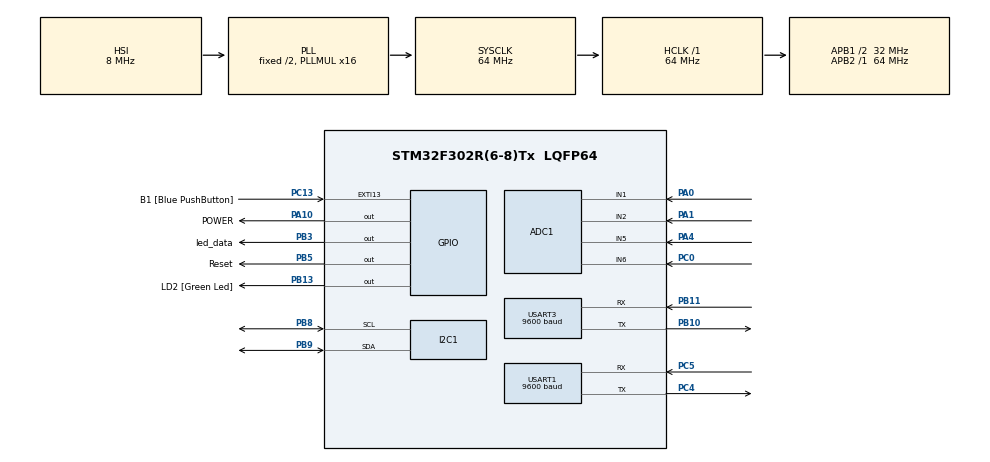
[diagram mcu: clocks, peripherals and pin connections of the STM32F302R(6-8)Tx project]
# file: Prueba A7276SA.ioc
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ADC1.Channel-0\#ChannelRegularConversion=ADC_CHANNEL_1
ADC1.Channel-1\#ChannelRegularConversion=ADC_CHANNEL_1
ADC1.Channel-2\#ChannelRegularConversion=ADC_CHANNEL_1
ADC1.ContinuousConvMode=ENABLE
ADC1.DMAContinuousRequests=ENABLE
ADC1.NbrOfConversion=3
ADC1.NbrOfConversionFlag=1
ADC1.Offset-0\#ChannelRegularConversion=0
ADC1.Offset-1\#ChannelRegularConversion=0
ADC1.Offset-2\#ChannelRegularConversion=0
ADC1.OffsetNumber-0\#ChannelRegularConversion=ADC_OFFSET_NONE
ADC1.OffsetNumber-1\#ChannelRegularConversion=ADC_OFFSET_NONE
ADC1.OffsetNumber-2\#ChannelRegularConversion=ADC_OFFSET_NONE
ADC1.Rank-0\#ChannelRegularConversion=1
ADC1.Rank-1\#ChannelRegularConversion=2
ADC1.Rank-2\#ChannelRegularConversion=3
ADC1.SamplingTime-0\#ChannelRegularConversion=ADC_SAMPLETIME_601CYCLES_5
ADC1.SamplingTime-1\#ChannelRegularConversion=ADC_SAMPLETIME_601CYCLES_5
ADC1.SamplingTime-2\#ChannelRegularConversion=ADC_SAMPLETIME_601CYCLES_5
ADC1.SamplingTimeOPAMP-1\#ChannelRegularConversion=ADC_SAMPLETIME_61CYCLES_5
ADC1.SamplingTimeOPAMP-2\#ChannelRegularConversion=ADC_SAMPLETIME_61CYCLES_5
ADC1.SequencerNbRanks=1
ADC1.SubFamily=STM32F302x8
ADC1.master=1
Dma.ADC1.0.Direction=DMA_PERIPH_TO_MEMORY
Dma.ADC1.0.Instance=DMA1_Channel1
Dma.ADC1.0.MemDataAlignment=DMA_MDATAALIGN_WORD
Dma.ADC1.0.MemInc=DMA_MINC_ENABLE
Dma.ADC1.0.Mode=DMA_CIRCULAR
Dma.ADC1.0.PeriphDataAlignment=DMA_PDATAALIGN_WORD
Dma.ADC1.0.PeriphInc=DMA_PINC_DISABLE
Dma.ADC1.0.Priority=DMA_PRIORITY_LOW
Dma.Request0=ADC1
Mcu.Family=STM32F3
Mcu.Name=STM32F302R(6-8)Tx
Mcu.Package=LQFP64
NVIC.DMA1_Channel1_IRQn=true\:0\:0\:false\:false\:true\:false\:true\:true
NVIC.PriorityGroup=NVIC_PRIORITYGROUP_0
NVIC.TIM1_TRG_COM_TIM17_IRQn=true\:0\:0\:false\:false\:true\:true\:true\:true
NVIC.USART3_IRQn=true\:0\:0\:false\:false\:true\:true\:true\:true
PA0.Mode=IN1-Single-Ended
PA0.Signal=ADC1_IN1
PA1.Mode=IN2-Single-Ended
PA1.Signal=ADC1_IN2
PA10.GPIO_Label=POWER
PA10.GPIO_Speed=GPIO_SPEED_FREQ_HIGH
PA10.Signal=GPIO_Output
PA13.GPIO_Label=TMS
PA13.Mode=Serial_Wire
PA13.Signal=SYS_JTMS-SWDIO
PA14.GPIO_Label=TCK
PA14.Mode=Serial_Wire
PA14.Signal=SYS_JTCK-SWCLK
PA2.GPIO_Label=USART_TX
PA2.GPIO_Mode=GPIO_MODE_AF_PP
PA2.GPIO_PuPd=GPIO_NOPULL
PA2.GPIO_Speed=GPIO_SPEED_FREQ_LOW
PA2.Signal=USART2_TX
PA3.GPIO_Label=USART_RX
PA3.GPIO_Mode=GPIO_MODE_AF_PP
PA3.GPIO_PuPd=GPIO_NOPULL
PA3.GPIO_Speed=GPIO_SPEED_FREQ_LOW
PA3.Signal=USART2_RX
PA4.Mode=IN5-Single-Ended
PA4.Signal=ADC1_IN5
PB10.Mode=Asynchronous
PB10.Signal=USART3_TX
PB11.Mode=Asynchronous
PB11.Signal=USART3_RX
PB13.GPIO_Label=LD2 [Green Led]
PB13.Signal=GPIO_Output
PB3.GPIO_Label=led_data
PB3.Signal=GPIO_Output
PB5.GPIO_Label=Reset
PB5.Signal=GPIO_Output
PB8.Mode=I2C
PB8.Signal=I2C1_SCL
PB9.Mode=I2C
PB9.Signal=I2C1_SDA
PC0.Signal=ADCx_IN6
PC13.GPIO_Label=B1 [Blue PushButton]
PC13.GPIO_ModeDefaultEXTI=GPIO_MODE_IT_FALLING
PC13.Signal=GPXTI13
PC14\ -\ OSC32_IN.Mode=LSE-External-Oscillator
PC14\ -\ OSC32_IN.Signal=RCC_OSC32_IN
PC15\ -\ OSC32_OUT.Mode=LSE-External-Oscillator
PC15\ -\ OSC32_OUT.Signal=RCC_OSC32_OUT
PC4.Mode=Asynchronous
PC4.Signal=USART1_TX
PC5.Mode=Asynchronous
PC5.Signal=USART1_RX
PF0-OSC_IN.Mode=HSE-External-Clock-Source
PF0-OSC_IN.Signal=RCC_OSC_IN
PF1-OSC_OUT.Signal=RCC_OSC_OUT
ProjectManager.HeapSize=0x200
ProjectManager.StackSize=0x400
ProjectManager.TargetToolchain=STM32CubeIDE
RCC.AHBFreq_Value=64000000
RCC.APB1CLKDivider=RCC_HCLK_DIV2
RCC.APB1Freq_Value=32000000
RCC.APB1TimFreq_Value=64000000
RCC.APB2Freq_Value=64000000
RCC.APB2TimFreq_Value=64000000
RCC.CortexFreq_Value=64000000
RCC.HCLKFreq_Value=64000000
RCC.HSE_VALUE=8000000
RCC.HSI_VALUE=8000000
RCC.PLLM=8
RCC.PLLMUL=RCC_PLL_MUL16
RCC.PLLN=336
RCC.PLLP=RCC_PLLP_DIV4
RCC.PLLQ=7
RCC.RCC_PLLsource_Clock_Source_FROM_HSE=RCC_HSE_PREDIV_DIV2
RCC.SYSCLKFreq_VALUE=64000000
RCC.SYSCLKSourceVirtual=RCC_SYSCLKSOURCE_PLLCLK
RCC.USBFreq_Value=64000000
SH.ADCx_IN6.0=ADC1_IN6,IN6-Single-Ended
TIM17.Period=10000
TIM17.Prescaler=6400
USART1.BaudRate=9600
USART1.VirtualMode-Asynchronous=VM_ASYNC
USART3.BaudRate=9600
USART3.VirtualMode-Asynchronous=VM_ASYNC
VP_TIM17_VS_ClockSourceINT.Mode=Enable_Timer
board=NUCLEO-F302R8

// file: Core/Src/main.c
/* USER CODE BEGIN Header */
/**
  ******************************************************************************
  * @file           : main.c
  * @brief          : Main program body
  ******************************************************************************
  * @attention
  *
  * Copyright (c) 2023 STMicroelectronics.
  * All rights reserved.
  *
  * This software is licensed under terms that can be found in the LICENSE file
  * in the root directory of this software component.
  * If no LICENSE file comes with this software, it is provided AS-IS.
  *
  ******************************************************************************
  */
/* USER CODE END Header */
#include "main.h"

/* USER CODE BEGIN Includes */
#include"UART.h" // aqui manejamos el uart por interrupcion para el envio de datos  y recepcion
#include "Comandos_AT.h" // aqui enviamos los comandos at por mqttt
#include "Interrupciones.h"// estas son interrupciones de timers para utilizar flags para el envio de los datos.
#include <stdio.h>
#include <string.h>
#include "BMP280.h" // esta es para manejar el i2c del bmp280
/* USER CODE END Includes */

ADC_HandleTypeDef hadc1;
DMA_HandleTypeDef hdma_adc1;

I2C_HandleTypeDef hi2c1;

TIM_HandleTypeDef htim17;

UART_HandleTypeDef huart1;
UART_HandleTypeDef huart3;

/* USER CODE BEGIN PV */
int flag=0;
bandera Flag;
uint32_t MEDIDAS[3]={0};
float pressure, temperature, humidity;
BMP280_HandleTypedef bmp280;
/* USER CODE END PV */

void SystemClock_Config(void);
static void MX_GPIO_Init(void);
static void MX_DMA_Init(void);
static void MX_USART1_UART_Init(void);
static void MX_USART3_UART_Init(void);
static void MX_TIM17_Init(void);
static void MX_ADC1_Init(void);
static void MX_I2C1_Init(void);

/* USER CODE BEGIN 0 */
int count=0;
char countStr[10];

uint32_t trubidity=0;
uint32_t Calculo_PH(uint32_t PH_value){return PH_value+300;}

/* USER CODE END 0 */

int main(void)
{

  /* MCU Configuration--------------------------------------------------------*/

  /* Reset of all peripherals, Initializes the Flash interface and the Systick. */
  HAL_Init();

  /* Configure the system clock */
  SystemClock_Config();

  /* Initialize all configured peripherals */
  MX_GPIO_Init();
  MX_DMA_Init();
  MX_USART1_UART_Init();
  MX_USART3_UART_Init();
  MX_TIM17_Init();
  MX_ADC1_Init();
  MX_I2C1_Init();
  /* USER CODE BEGIN 2 */
  HAL_ADC_Start_DMA(&hadc1,MEDIDAS,3);
  Uart_init();
  Timers_Init();
  Transmit("AT+CRESET\r\n");
  HAL_Delay(5000);
//  bmp280_init_default_params(&bmp280.params);
//  	bmp280.addr = BMP280_I2C_ADDRESS_0;
//  	bmp280.i2c = &hi2c1;
//
//  	while (!bmp280_init(&bmp280, &bmp280.params)) {
//  	}
//  	bool bme280p = bmp280.id == BME280_CHIP_ID;

  /* USER CODE END 2 */

  /* Infinite loop */
  /* USER CODE BEGIN WHILE */
  while (1)
  {
//
//	  bmp280_read_float(&bmp280, &temperature, &pressure, &humidity);

	  if(Flag.Reset_Tarjeta)
	  {
		  Flag.Reset_Tarjeta=0;
		  FUNC_RESET();
	  }

	  if(Flag.Radio_on)//Indicacion de que el radio debe inicializarse
	  	  {
	  		  if(!Flag.MQTT_Start&&!Flag.mqtt_command)//Esperar que el mqtt se encienda o se libere el uso del mqtt
	  		  {
	  			Transmit(Iniciar_MQTT);//Iniciar MQTT
	  			Flag.mqtt_command=1;//Ocupando el uso del MQTT
	  		  }
	  		 if(!Flag.gps&&!Flag.gps_command)//Esperar que el GPS se encienda o se libere el uso del GPS
	  		  {
	  		    Transmit(AT_GPS_ON);//Encender GPS
	  		    Flag.gps_command=1;//Ocupando el GPS
	  		  }
	  		  if(Flag.gps&&!Flag.gps_command)
	  		  {
	  			Transmit(AT_GPS_HOT);//Habilitando el uso del GPS
	  			Flag.gps_command=1;//Ocupando el GPS
	  		  }
	  		  if(Flag.MQTT_Start&&!Flag.mqtt_command&&!Flag.servidor)//Esperar a que ese activo el MQTT y este libre el uso del MQTT , para lograr conectarse al servidor
	  		  {
	  			FUNC_MQTT_CONNECT_SERVER("JORGE0901");//Conectarse al servidor MQTT
	  			Flag.mqtt_command=1;//Ocupando el MQTT
	  		  }
	  			if(Flag.MQTT_Start&&Flag.gps&&Flag.servidor)//Indicacion de que el equipo esta inicializado
	  		  {
	  			Flag.Radio_on=0;//Indicacion de que el equipo ya termino la inicializacion
	  			Flag.gps_command=0;//Liberando GPS
	  			Flag.mqtt_command=0;//Liberando MQTT
		  	  	if(Flag.servidor&&!Flag.Subscripcion)//Inicio de suscripciones
		  	  	{
		  			Flag.Subscripcion_sucess=0;//Incicando que puede enviar una subscripcion
		  			FUNC_Subscribirse_MQTT("EJEMPLOJORGE");//Topico al que se desea subscribirse
		  			while(!Flag.Subscripcion_sucess);//Esperando la respuesta

		  			Flag.Subscripcion=1;//Subscripciones terminadas

		  	  	}
	  			FUNC_SEND_MQTT("Ready","Prueba_Server");
	  		  }
	  	  }

	  	  	if(!Flag.Radio_on&&Flag.servidor)
	  	  	{
	  		  	if(Flag.Send_GPS&&!Flag.mqtt_command)
	  		  	{

	  		  		if(!Flag.gps_command)
	  		  		{
	  		  		HAL_Delay(100);
	  		  		Transmit(AT_GPS_INFO);
	  		  		Flag.gps_command=1;
	  		  		Flag.mqtt_command=1;
	  		  		while(!Flag.gps_command);
	  		  		HAL_Delay(200);
	  		  		FUNC_SEND_GPS();
	  		  		Flag.Send_GPS=0;
	  		  		}
	  		  	}

			  if(Flag.Send_Medidas&&!Flag.mqtt_command)
				 {
				  HAL_GPIO_TogglePin(led_data_GPIO_Port, led_data_Pin);
				  char Presion[10]="\0";
				  sprintf(Presion,"%.5f",pressure);
				  FUNC_SEND_MQTT(Presion,"waveSizejo");
				  Flag.Send_Medidas=0;
				 }
	  		  if(Flag.Send_Medidas2&&!Flag.mqtt_command)
	  		  	 {
	  			  HAL_GPIO_TogglePin(led_data_GPIO_Port, led_data_Pin);
	  		  	  char WIND[10]="\0";
	  		  	  sprintf(WIND,"%li",MEDIDAS[0]);
	  		  	  FUNC_SEND_MQTT(WIND,"windSpeedjo");
	  		  	  Flag.Send_Medidas2=0;
	  		  	 }
	  		if(Flag.Send_Medidas3&&!Flag.mqtt_command)
	  			  {
	  			HAL_GPIO_TogglePin(led_data_GPIO_Port, led_data_Pin);
  		  			char Turbidez[10]="\0";
  		  			sprintf(Turbidez,"%li",MEDIDAS[1]);
	  			  	FUNC_SEND_MQTT(Turbidez,"turbidityjo");
	  			  	Flag.Send_Medidas3=0;
	  			  }
	  		if(Flag.Send_Medidas4&&!Flag.mqtt_command)
	  			  {
	  			HAL_GPIO_TogglePin(led_data_GPIO_Port, led_data_Pin);
  		  			char Temp[10]="\0";
  		  			sprintf(Temp,"%li",MEDIDAS[2]);
	  			  	FUNC_SEND_MQTT(Temp,"temperaturejo");
	  			  	Flag.Send_Medidas4=0;
	  			   }
	  	  	}

    /* USER CODE END WHILE */

  }
}

void SystemClock_Config(void)
{
  RCC_OscInitTypeDef RCC_OscInitStruct = {0};
  RCC_ClkInitTypeDef RCC_ClkInitStruct = {0};
  RCC_PeriphCLKInitTypeDef PeriphClkInit = {0};

  /** Initializes the RCC Oscillators according to the specified parameters
  * in the RCC_OscInitTypeDef structure.
  */
  RCC_OscInitStruct.OscillatorType = RCC_OSCILLATORTYPE_HSI;
  RCC_OscInitStruct.HSIState = RCC_HSI_ON;
  RCC_OscInitStruct.HSICalibrationValue = RCC_HSICALIBRATION_DEFAULT;
  RCC_OscInitStruct.PLL.PLLState = RCC_PLL_ON;
  RCC_OscInitStruct.PLL.PLLSource = RCC_PLLSOURCE_HSI;
  RCC_OscInitStruct.PLL.PLLMUL = RCC_PLL_MUL16;
  if (HAL_RCC_OscConfig(&RCC_OscInitStruct) != HAL_OK)
  {
    Error_Handler();
  }

  /** Initializes the CPU, AHB and APB buses clocks
  */
  RCC_ClkInitStruct.ClockType = RCC_CLOCKTYPE_HCLK|RCC_CLOCKTYPE_SYSCLK
                              |RCC_CLOCKTYPE_PCLK1|RCC_CLOCKTYPE_PCLK2;
  RCC_ClkInitStruct.SYSCLKSource = RCC_SYSCLKSOURCE_PLLCLK;
  RCC_ClkInitStruct.AHBCLKDivider = RCC_SYSCLK_DIV1;
  RCC_ClkInitStruct.APB1CLKDivider = RCC_HCLK_DIV2;
  RCC_ClkInitStruct.APB2CLKDivider = RCC_HCLK_DIV1;

  if (HAL_RCC_ClockConfig(&RCC_ClkInitStruct, FLASH_LATENCY_2) != HAL_OK)
  {
    Error_Handler();
  }
  PeriphClkInit.PeriphClockSelection = RCC_PERIPHCLK_USART1|RCC_PERIPHCLK_I2C1
                              |RCC_PERIPHCLK_TIM17|RCC_PERIPHCLK_ADC1;
  PeriphClkInit.Usart1ClockSelection = RCC_USART1CLKSOURCE_PCLK1;
  PeriphClkInit.I2c1ClockSelection = RCC_I2C1CLKSOURCE_HSI;
  PeriphClkInit.Tim17ClockSelection = RCC_TIM17CLK_HCLK;
  PeriphClkInit.Adc1ClockSelection = RCC_ADC1PLLCLK_DIV1;

  if (HAL_RCCEx_PeriphCLKConfig(&PeriphClkInit) != HAL_OK)
  {
    Error_Handler();
  }
}

static void MX_ADC1_Init(void)
{

  ADC_ChannelConfTypeDef sConfig = {0};

  /** Common config
  */
  hadc1.Instance = ADC1;
  hadc1.Init.ClockPrescaler = ADC_CLOCK_ASYNC_DIV1;
  hadc1.Init.Resolution = ADC_RESOLUTION_12B;
  hadc1.Init.ScanConvMode = ADC_SCAN_ENABLE;
  hadc1.Init.ContinuousConvMode = ENABLE;
  hadc1.Init.DiscontinuousConvMode = DISABLE;
  hadc1.Init.ExternalTrigConvEdge = ADC_EXTERNALTRIGCONVEDGE_NONE;
  hadc1.Init.ExternalTrigConv = ADC_SOFTWARE_START;
  hadc1.Init.DataAlign = ADC_DATAALIGN_RIGHT;
  hadc1.Init.NbrOfConversion = 3;
  hadc1.Init.DMAContinuousRequests = ENABLE;
  hadc1.Init.EOCSelection = ADC_EOC_SINGLE_CONV;
  hadc1.Init.LowPowerAutoWait = DISABLE;
  hadc1.Init.Overrun = ADC_OVR_DATA_OVERWRITTEN;
  if (HAL_ADC_Init(&hadc1) != HAL_OK)
  {
    Error_Handler();
  }

  /** Configure Regular Channel
  */
  sConfig.Channel = ADC_CHANNEL_1;
  sConfig.Rank = ADC_REGULAR_RANK_1;
  sConfig.SingleDiff = ADC_SINGLE_ENDED;
  sConfig.SamplingTime = ADC_SAMPLETIME_601CYCLES_5;
  sConfig.OffsetNumber = ADC_OFFSET_NONE;
  sConfig.Offset = 0;
  if (HAL_ADC_ConfigChannel(&hadc1, &sConfig) != HAL_OK)
  {
    Error_Handler();
  }

  /** Configure Regular Channel
  */
  sConfig.Rank = ADC_REGULAR_RANK_2;
  if (HAL_ADC_ConfigChannel(&hadc1, &sConfig) != HAL_OK)
  {
    Error_Handler();
  }

  /** Configure Regular Channel
  */
  sConfig.Rank = ADC_REGULAR_RANK_3;
  if (HAL_ADC_ConfigChannel(&hadc1, &sConfig) != HAL_OK)
  {
    Error_Handler();
  }

}

static void MX_I2C1_Init(void)
{

  hi2c1.Instance = I2C1;
  hi2c1.Init.Timing = 0x2000090E;
  hi2c1.Init.OwnAddress1 = 0;
  hi2c1.Init.AddressingMode = I2C_ADDRESSINGMODE_7BIT;
  hi2c1.Init.DualAddressMode = I2C_DUALADDRESS_DISABLE;
  hi2c1.Init.OwnAddress2 = 0;
  hi2c1.Init.OwnAddress2Masks = I2C_OA2_NOMASK;
  hi2c1.Init.GeneralCallMode = I2C_GENERALCALL_DISABLE;
  hi2c1.Init.NoStretchMode = I2C_NOSTRETCH_DISABLE;
  if (HAL_I2C_Init(&hi2c1) != HAL_OK)
  {
    Error_Handler();
  }

  /** Configure Analogue filter
  */
  if (HAL_I2CEx_ConfigAnalogFilter(&hi2c1, I2C_ANALOGFILTER_ENABLE) != HAL_OK)
  {
    Error_Handler();
  }

  /** Configure Digital filter
  */
  if (HAL_I2CEx_ConfigDigitalFilter(&hi2c1, 0) != HAL_OK)
  {
    Error_Handler();
  }

}

static void MX_TIM17_Init(void)
{

  htim17.Instance = TIM17;
  htim17.Init.Prescaler = 6400;
  htim17.Init.CounterMode = TIM_COUNTERMODE_UP;
  htim17.Init.Period = 10000;
  htim17.Init.ClockDivision = TIM_CLOCKDIVISION_DIV1;
  htim17.Init.RepetitionCounter = 0;
  htim17.Init.AutoReloadPreload = TIM_AUTORELOAD_PRELOAD_DISABLE;
  if (HAL_TIM_Base_Init(&htim17) != HAL_OK)
  {
    Error_Handler();
  }

}

static void MX_USART1_UART_Init(void)
{

  huart1.Instance = USART1;
  huart1.Init.BaudRate = 9600;
  huart1.Init.WordLength = UART_WORDLENGTH_8B;
  huart1.Init.StopBits = UART_STOPBITS_1;
  huart1.Init.Parity = UART_PARITY_NONE;
  huart1.Init.Mode = UART_MODE_TX_RX;
  huart1.Init.HwFlowCtl = UART_HWCONTROL_NONE;
  huart1.Init.OverSampling = UART_OVERSAMPLING_16;
  huart1.Init.OneBitSampling = UART_ONE_BIT_SAMPLE_DISABLE;
  huart1.AdvancedInit.AdvFeatureInit = UART_ADVFEATURE_NO_INIT;
  if (HAL_UART_Init(&huart1) != HAL_OK)
  {
    Error_Handler();
  }

}

static void MX_USART3_UART_Init(void)
{

  huart3.Instance = USART3;
  huart3.Init.BaudRate = 9600;
  huart3.Init.WordLength = UART_WORDLENGTH_8B;
  huart3.Init.StopBits = UART_STOPBITS_1;
  huart3.Init.Parity = UART_PARITY_NONE;
  huart3.Init.Mode = UART_MODE_TX_RX;
  huart3.Init.HwFlowCtl = UART_HWCONTROL_NONE;
  huart3.Init.OverSampling = UART_OVERSAMPLING_16;
  huart3.Init.OneBitSampling = UART_ONE_BIT_SAMPLE_DISABLE;
  huart3.AdvancedInit.AdvFeatureInit = UART_ADVFEATURE_NO_INIT;
  if (HAL_UART_Init(&huart3) != HAL_OK)
  {
    Error_Handler();
  }

}

static void MX_DMA_Init(void)
{

  /* DMA controller clock enable */
  __HAL_RCC_DMA1_CLK_ENABLE();

  /* DMA interrupt init */
  /* DMA1_Channel1_IRQn interrupt configuration */
  HAL_NVIC_SetPriority(DMA1_Channel1_IRQn, 0, 0);
  HAL_NVIC_EnableIRQ(DMA1_Channel1_IRQn);

}

static void MX_GPIO_Init(void)
{
  GPIO_InitTypeDef GPIO_InitStruct = {0};

  /* GPIO Ports Clock Enable */
  __HAL_RCC_GPIOC_CLK_ENABLE();
  __HAL_RCC_GPIOF_CLK_ENABLE();
  __HAL_RCC_GPIOA_CLK_ENABLE();
  __HAL_RCC_GPIOB_CLK_ENABLE();

  /*Configure GPIO pin Output Level */
  HAL_GPIO_WritePin(GPIOB, LD2_Pin|led_data_Pin|Reset_Pin, GPIO_PIN_RESET);

  /*Configure GPIO pin Output Level */
  HAL_GPIO_WritePin(POWER_GPIO_Port, POWER_Pin, GPIO_PIN_RESET);

  /*Configure GPIO pin : B1_Pin */
  GPIO_InitStruct.Pin = B1_Pin;
  GPIO_InitStruct.Mode = GPIO_MODE_IT_FALLING;
  GPIO_InitStruct.Pull = GPIO_NOPULL;
  HAL_GPIO_Init(B1_GPIO_Port, &GPIO_InitStruct);

  /*Configure GPIO pins : USART_TX_Pin USART_RX_Pin */
  GPIO_InitStruct.Pin = USART_TX_Pin|USART_RX_Pin;
  GPIO_InitStruct.Mode = GPIO_MODE_AF_PP;
  GPIO_InitStruct.Pull = GPIO_NOPULL;
  GPIO_InitStruct.Speed = GPIO_SPEED_FREQ_LOW;
  GPIO_InitStruct.Alternate = GPIO_AF7_USART2;
  HAL_GPIO_Init(GPIOA, &GPIO_InitStruct);

  /*Configure GPIO pins : LD2_Pin led_data_Pin Reset_Pin */
  GPIO_InitStruct.Pin = LD2_Pin|led_data_Pin|Reset_Pin;
  GPIO_InitStruct.Mode = GPIO_MODE_OUTPUT_PP;
  GPIO_InitStruct.Pull = GPIO_NOPULL;
  GPIO_InitStruct.Speed = GPIO_SPEED_FREQ_LOW;
  HAL_GPIO_Init(GPIOB, &GPIO_InitStruct);

  /*Configure GPIO pin : POWER_Pin */
  GPIO_InitStruct.Pin = POWER_Pin;
  GPIO_InitStruct.Mode = GPIO_MODE_OUTPUT_PP;
  GPIO_InitStruct.Pull = GPIO_NOPULL;
  GPIO_InitStruct.Speed = GPIO_SPEED_FREQ_HIGH;
  HAL_GPIO_Init(POWER_GPIO_Port, &GPIO_InitStruct);

}

void Error_Handler(void)
{
  __disable_irq();
  while (1)
  {
  }
}
